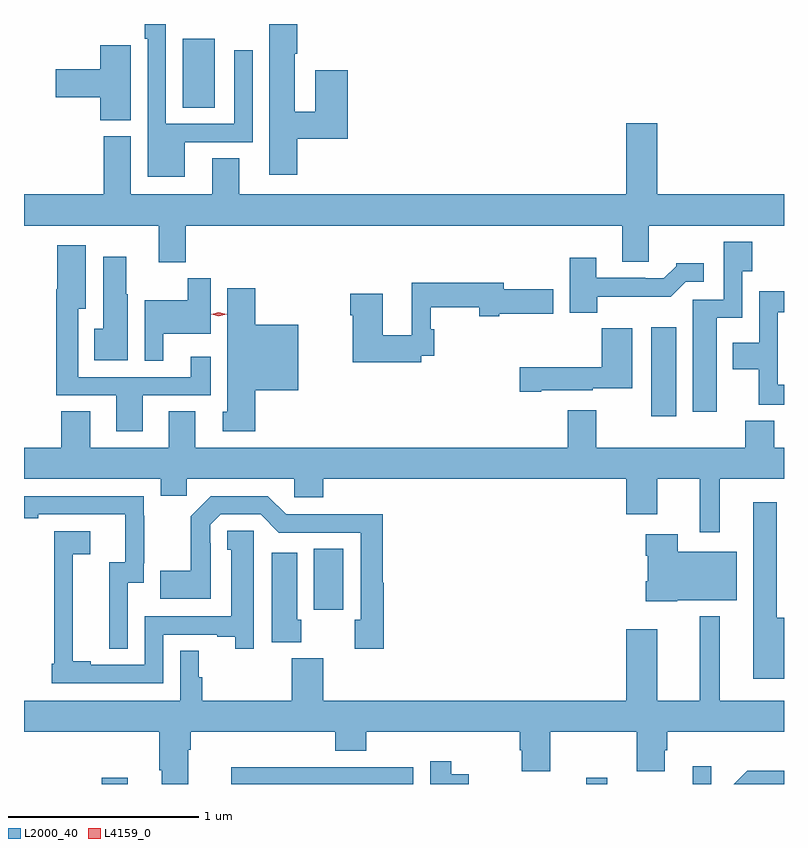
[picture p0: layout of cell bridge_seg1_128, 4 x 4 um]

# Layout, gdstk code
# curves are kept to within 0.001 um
import gdstk
lib = gdstk.Library(unit=1e-6, precision=1e-09)
def R(c, l, rs):  # rectangles x0, y0, x1, y1
    for r in rs: c.add(gdstk.rectangle(r[:2], r[2:], *l))
def P(c, l, *ps):  # polygons
    for p in ps: c.add(gdstk.Polygon(p, *l))
L2000_40 = (2000, 40)
L4159_0 = (4159, 0)

bridge_seg1_128 = lib.new_cell('bridge_seg1_128')
R(bridge_seg1_128, L2000_40, [(425.983,575.433,426.121,575.467), (428.533,575.433,428.644,575.467), (429.095,575.433,429.192,575.527), (428.876,577.368,429.007,577.837), (426.41,578.992,426.577,579.355)])
P(bridge_seg1_128, L2000_40, [(427.013,578.83),(427.277,578.83),(427.277,579.19),(427.106,579.19),(427.106,578.972),(427,578.972),(427,579.277),(427.013,579.277),(427.013,579.433),(426.866,579.433),(426.866,578.64),(427.013,578.64)],
  [(426.421,578.811),(426.777,578.811),(426.777,579.295),(426.681,579.295),(426.681,578.907),(426.321,578.907),(426.321,579.433),(426.209,579.433),(426.209,579.356),(426.225,579.356),(426.225,578.63),(426.421,578.63)],
  [(426.136,579.209),(426.135,579.209),(426.135,579.322),(425.975,579.322),(425.975,579.194),(425.742,579.194),(425.742,579.047),(425.975,579.047),(425.975,578.926),(426.136,578.926)],
  [(426.425,578.372),(428.723,578.372),(428.723,578.182),(428.863,578.182),(428.863,578.372),(429.574,578.372),(429.574,578.536),(428.908,578.536),(428.908,578.911),(428.744,578.911),(428.744,578.536),(426.706,578.536),(426.706,578.726),(426.566,578.726),(426.566,578.536),(426.136,578.536),(426.136,578.841),(425.993,578.841),(425.993,578.536),(425.574,578.536),(425.574,578.372),(426.284,578.372),(426.284,578.18),(426.425,578.18)],
  [(429.22,577.886),(429.354,577.886),(429.354,578.131),(429.407,578.131),(429.407,578.287),(429.258,578.287),(429.258,577.983),(429.095,577.983),(429.095,577.392),(429.22,577.392)],
  [(426.199,577.479),(426.556,577.479),(426.556,577.681),(426.452,577.681),(426.452,577.575),(425.859,577.575),(425.859,577.934),(425.899,577.934),(425.899,578.269),(425.75,578.269),(425.75,578.038),(425.743,578.038),(425.743,577.479),(426.059,577.479),(426.059,577.29),(426.199,577.29)],
  [(426.121,578.01),(426.112,578.01),(426.112,578.209),(425.99,578.209),(425.99,577.829),(425.944,577.829),(425.944,577.664),(426.121,577.664)],
  [(428.59,577.998),(428.979,577.998),(429.057,578.076),(429.151,578.076),(429.151,578.173),(429.006,578.173),(429.006,578.158),(428.942,578.094),(428.843,578.094),(428.843,578.097),(428.587,578.097),(428.587,578.203),(428.447,578.203),(428.447,577.913),(428.59,577.913)],
  [(426.307,577.802),(426.556,577.802),(426.556,578.095),(426.435,578.095),(426.435,577.978),(426.21,577.978),(426.21,577.66),(426.307,577.66)],
  [(427.665,577.686),(427.733,577.686),(427.733,577.827),(427.716,577.827),(427.716,577.942),(427.97,577.942),(427.97,577.895),(428.074,577.895),(428.074,577.907),(428.359,577.907),(428.359,578.037),(428.098,578.037),(428.098,578.071),(427.616,578.071),(427.616,577.795),(427.462,577.795),(427.462,578.014),(427.292,578.014),(427.292,577.901),(427.304,577.901),(427.304,577.654),(427.665,577.654)],
  [(426.791,577.505),(427.018,577.505),(427.018,577.849),(426.791,577.849),(426.791,578.041),(426.644,578.041),(426.644,577.392),(426.62,577.392),(426.62,577.29),(426.791,577.29)],
  [(429.574,577.534),(429.54,577.534),(429.54,577.917),(429.574,577.917),(429.574,578.026),(429.444,578.026),(429.444,577.756),(429.305,577.756),(429.305,577.616),(429.442,577.616),(429.442,577.43),(429.574,577.43)],
  [(428.296,577.505),(428.568,577.505),(428.568,577.517),(428.776,577.517),(428.776,577.831),(428.614,577.831),(428.614,577.627),(428.184,577.627),(428.184,577.498),(428.296,577.498)],
  [(429.235,577.04),(429.574,577.04),(429.574,577.204),(429.523,577.204),(429.523,577.345),(429.371,577.345),(429.371,577.204),(428.587,577.204),(428.587,577.399),(428.435,577.399),(428.435,577.204),(426.475,577.204),(426.475,577.394),(426.335,577.394),(426.335,577.204),(425.923,577.204),(425.923,577.394),(425.771,577.394),(425.771,577.204),(425.574,577.204),(425.574,577.04),(426.293,577.04),(426.293,576.95),(426.431,576.95),(426.431,577.04),(426.996,577.04),(426.996,576.942),(427.148,576.942),(427.148,577.04),(428.744,577.04),(428.744,576.852),(428.908,576.852),(428.908,577.04),(429.131,577.04),(429.131,576.759),(429.235,576.759)],
  [(427.468,576.492),(427.463,576.492),(427.463,576.854),(427.231,576.854),(427.231,576.852),(426.954,576.852),(426.858,576.948),(426.558,576.948),(426.452,576.842),(426.452,576.555),(426.291,576.555),(426.291,576.407),(426.556,576.407),(426.555,576.798),(426.609,576.852),(426.819,576.852),(426.915,576.756),(427.347,576.756),(427.347,576.297),(427.315,576.297),(427.315,576.144),(427.468,576.144)],
  [(426.12,576.491),(426.204,576.491),(426.204,576.595),(426.207,576.595),(426.207,576.845),(426.204,576.845),(426.204,576.948),(425.574,576.948),(425.574,576.832),(425.65,576.832),(425.65,576.852),(426.107,576.852),(426.107,576.601),(426.023,576.601),(426.023,576.145),(426.12,576.145)],
  [(429.574,576.308),(429.535,576.308),(429.535,576.916),(429.413,576.916),(429.413,575.987),(429.574,575.987)],
  [(426.306,576.219),(426.59,576.219),(426.59,576.207),(426.686,576.207),(426.686,576.144),(426.783,576.144),(426.783,576.397),(426.784,576.397),(426.784,576.656),(426.782,576.656),(426.782,576.767),(426.645,576.767),(426.645,576.666),(426.665,576.666),(426.665,576.315),(426.21,576.315),(426.21,576.06),(425.926,576.06),(425.926,576.08),(425.831,576.08),(425.831,576.642),(425.923,576.642),(425.923,576.763),(425.732,576.763),(425.732,576.067),(425.721,576.067),(425.721,575.964),(426.306,575.964)],
  [(429.012,576.401),(429.325,576.401),(429.325,576.655),(429.016,576.655),(429.016,576.748),(428.846,576.748),(428.846,576.635),(428.858,576.635),(428.858,576.499),(428.846,576.499),(428.846,576.395),(429.012,576.395)],
  [(427.253,576.46),(427.255,576.46),(427.255,576.671),(427.1,576.671),(427.1,576.349),(427.253,576.349)],
  [(427.033,576.297),(427.012,576.297),(427.012,576.649),(426.878,576.649),(426.878,576.179),(427.033,576.179)],
  [(426.439,575.612),(426.452,575.612),(426.452,575.708),(427.211,575.708),(427.211,575.609),(427.376,575.609),(427.376,575.708),(428.183,575.708),(428.183,575.61),(428.195,575.61),(428.195,575.5),(428.343,575.5),(428.343,575.708),(428.8,575.708),(428.8,575.5),(428.947,575.5),(428.947,575.61),(428.96,575.61),(428.96,575.708),(429.574,575.708),(429.574,575.872),(429.235,575.872),(429.235,576.316),(429.131,576.316),(429.131,575.872),(428.908,575.872),(428.908,576.247),(428.744,576.247),(428.744,575.872),(427.148,575.872),(427.148,576.094),(426.983,576.094),(426.983,575.872),(426.512,575.872),(426.512,575.996),(426.494,575.996),(426.494,576.134),(426.396,576.134),(426.396,575.872),(425.574,575.872),(425.574,575.708),(426.287,575.708),(426.287,575.506),(426.299,575.506),(426.299,575.433),(426.439,575.433)],
  [(427.914,575.484),(427.822,575.484),(427.822,575.554),(427.713,575.554),(427.713,575.433),(427.914,575.433)],
  [(427.623,575.52),(427.127,575.52),(427.127,575.522),(426.664,575.522),(426.664,575.433),(427.623,575.433)],
  [(429.574,575.504),(429.38,575.504),(429.309,575.433),(429.574,575.433)])
P(bridge_seg1_128, L4159_0, [(426.6,577.896),(426.559,577.906),(426.559,577.906),(426.559,577.906),(426.6,577.916),(426.64,577.905),(426.64,577.905),(426.64,577.905)])

lib.write_gds('bridge_seg1_128.gds')
